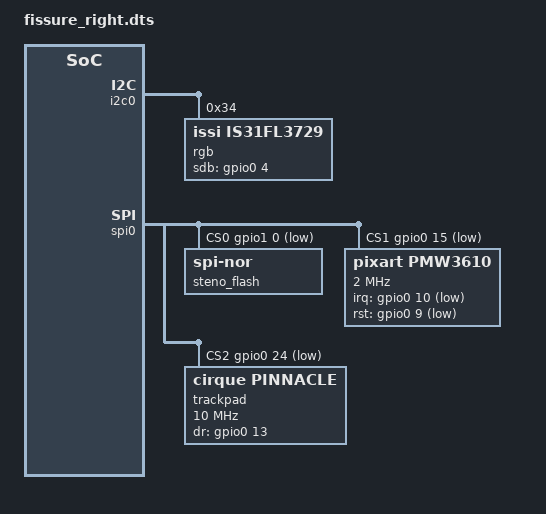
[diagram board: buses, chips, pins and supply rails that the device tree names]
#include "fissure.dtsi"
#include "dt-bindings/zmk/is31fl3729_transform.h"
#include "fissure_right-pinctrl.dtsi"

&transform {
    row-offset = <4>;
};

/ {
    chosen {
    };
};

&i2c0 {
    compatible = "nordic,nrf-twi";
    status = "okay";
    pinctrl-0 = <&i2c0_def>;
    pinctrl-1 = <&i2c0_slp>;
    pinctrl-names = "default", "sleep";
	rgb: is31fl3729@34 {
        compatible = "issi,is31fl3729";
        status = "okay";
        reg = <0x34>;
        r-ext = <10>;
        led-max-current = <1>;
        sdb-gpios = <&gpio0 4 (GPIO_ACTIVE_HIGH | GPIO_PULL_DOWN)>;
        chain-length = <60>;
        scaling = <BGR_SCALING BGR_SCALING BGR_SCALING BGR_SCALING BGR_SCALING 0>;

#define RGB_CS0 3, 2, 1
#define RGB_CS1 9, 8, 7
#define RGB_CS2 12, 11, 10
#define RGB_CS3 15, 14, 13
#define RGB_CS4 6, 5, 4
		map = <
PIX(1, 0) PIX(2, 0) PIX(3, 0) PIX(4, 0) PIX(4, 3) PIX(4, 3)
PIX(1, 1) PIX(2, 1) PIX(4, 4) PIX(4, 1) PIX(2, 3) PIX(3, 3) 
PIX(1, 2) PIX(2, 2) PIX(3, 1) PIX(3, 2) PIX(1, 3)
PIX(1, 4) PIX(2, 4) PIX(3, 4)
            >;
    };
};

&spi0 {
    compatible = "nordic,nrf-spim";
    status = "okay";
    pinctrl-0 = <&spi0_def>;
    pinctrl-1 = <&spi0_slp>;
    pinctrl-names = "default", "sleep";
    cs-gpios = <&gpio1 0 GPIO_ACTIVE_LOW>, <&gpio0 15 GPIO_ACTIVE_LOW>, <&gpio0 24 GPIO_ACTIVE_LOW>;
               // <&gpio0 8 GPIO_ACTIVE_LOW>;

    steno_flash: nor-flash@0 {
        reg = <0>;
        compatible = "jedec,spi-nor";
        status = "okay";
        sck-frequency = <8000000>;
        jedec-id = [20 ba 18];      // TODO
        size = <0x8000000>;
        has-dpd;
        t-enter-dpd = <3000>;
        t-exit-dpd = <30000>;
    };

    trackball: trackball@1 {
        compatible = "pixart,pmw3610";
        status = "okay";
        reg = <1>;
        spi-max-frequency = <2000000>;
        label = "pmw3610";
        irq-gpios = <&gpio0 10 GPIO_ACTIVE_LOW>;
        rst-gpios = <&gpio0 9 GPIO_ACTIVE_LOW>;
    };

    trackpad@2 {
        compatible = "cirque,pinnacle";
        status = "okay";
        label = "trackpad";
        reg = <2>;
        spi-max-frequency = <10000000>;
        dr-gpios = <&gpio0 13 GPIO_ACTIVE_HIGH>;
        rotate-90;
        sleep;
        /* no-taps; */
    };
};
